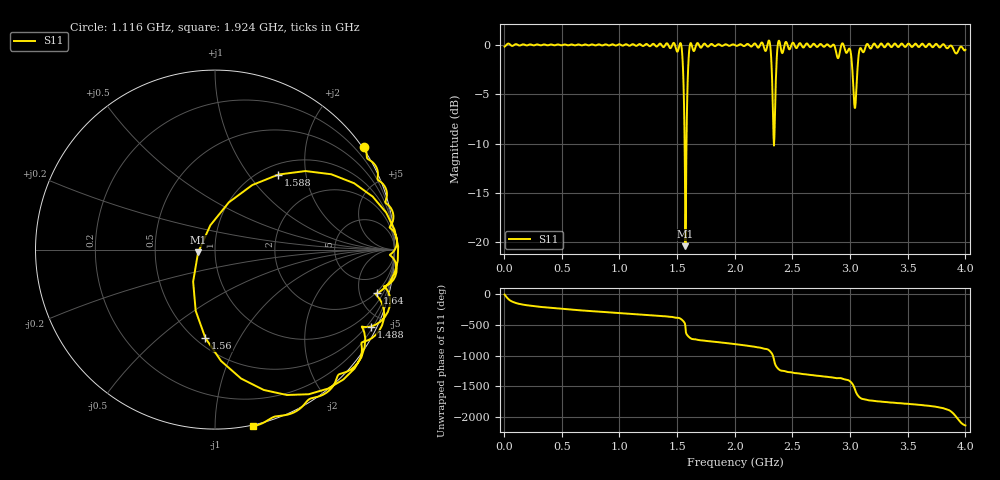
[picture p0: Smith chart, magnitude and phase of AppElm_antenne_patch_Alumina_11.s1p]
! TOUCHSTONE file generated by CST MICROWAVE STUDIO
! Date and time: Thu Jun  9 09:30:44 2022
! Project name: AppElm_antenne_patch_Alumina.cst
! Parameters = {L=30.5; W=41.8; e=0.035; h=1.6; lambda=0.190476; ls=90; w0=1.12; w1=0.4662; ws=90; y0=14; y1=10}
! Header version: 2018
! Port assignment regex: !\s*Touchstone port\s*([0-9]+)\s*=\s*(CST MWS port|CST DS port)\s*([0-9]+|Zmin|Zmax)\s*\(\"(.*)\"\)(\s*mode\s*([0-9]+))?.*
! Touchstone port assignment:
! Touchstone port 1 = CST MWS port 1 ("")
# GHz S MA R 50
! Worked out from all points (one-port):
!   1000 points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, 4 MHz to 4 GHz, reference 50 ohm
!   lowest |S11| = -20.4 dB at 1.572 GHz (marker M1), VSWR 1.21, Z = 41.4 - j1.29 ohm
!   |S11| at or under -10 dB: 1.565 GHz to 1.581 GHz (16.39 MHz wide, 1.04 % of centre); 2.339173 GHz to 2.340873 GHz (1.7 MHz wide, 0.0726 % of centre)
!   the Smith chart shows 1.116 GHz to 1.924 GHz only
!   S11 on the Smith chart (normalised r, x): 1.116 GHz: -0.05, +3.21; 1.488 GHz: 0.31, -4.26; 1.56 GHz: 0.56, -0.73; 1.588 GHz: 1.18, +1.41; 1.64 GHz: 1.81, -7.16; 1.924 GHz: -0.01, -1.24
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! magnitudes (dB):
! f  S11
! 4 MHz  -0.2
! 504 MHz  0.0
! 1.004 GHz  0.0
! 1.116 GHz  0.1
! 1.488 GHz  -0.3
! 1.504 GHz  -0.7
! 1.54 GHz  -0.4
! 1.56 GHz  -6.1
! 1.572 GHz  -20.4
! 1.588 GHz  -5.2
! 1.6 GHz  -1.3
! 1.608 GHz  -0.2
! 1.64 GHz  -0.6
! 1.924 GHz  0.1
! 2.004 GHz  0.0
! 2.292 GHz  0.4
! 2.308 GHz  -0.1
! 2.328 GHz  -5.3
! 2.34 GHz  -10.2
! 2.384 GHz  0.4
! 2.504 GHz  0.2
! 2.896 GHz  -1.4
! 2.936 GHz  0.2
! 3.004 GHz  -0.7
! 3.044 GHz  -6.4
! 3.096 GHz  -0.4
! 3.504 GHz  0.1
! 4 GHz  -0.5
